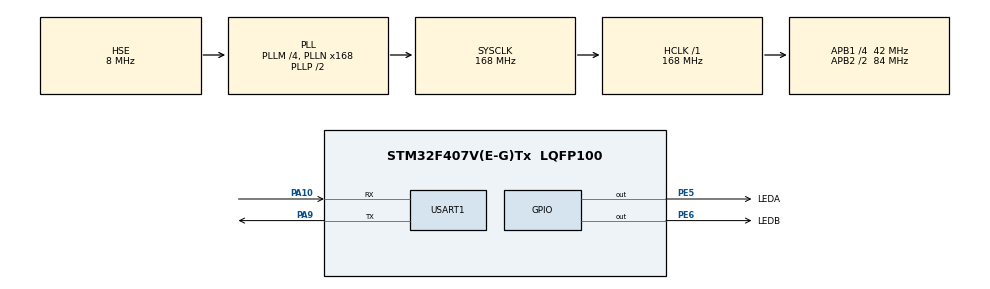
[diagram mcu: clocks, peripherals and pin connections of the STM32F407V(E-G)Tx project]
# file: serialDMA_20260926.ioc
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Dma.Request0=USART1_TX
Dma.Request1=USART1_RX
Dma.USART1_RX.1.Direction=DMA_PERIPH_TO_MEMORY
Dma.USART1_RX.1.FIFOMode=DMA_FIFOMODE_DISABLE
Dma.USART1_RX.1.Instance=DMA2_Stream2
Dma.USART1_RX.1.MemDataAlignment=DMA_MDATAALIGN_BYTE
Dma.USART1_RX.1.MemInc=DMA_MINC_ENABLE
Dma.USART1_RX.1.Mode=DMA_NORMAL
Dma.USART1_RX.1.PeriphDataAlignment=DMA_PDATAALIGN_BYTE
Dma.USART1_RX.1.PeriphInc=DMA_PINC_DISABLE
Dma.USART1_RX.1.Priority=DMA_PRIORITY_LOW
Dma.USART1_TX.0.Direction=DMA_MEMORY_TO_PERIPH
Dma.USART1_TX.0.FIFOMode=DMA_FIFOMODE_DISABLE
Dma.USART1_TX.0.Instance=DMA2_Stream7
Dma.USART1_TX.0.MemDataAlignment=DMA_MDATAALIGN_BYTE
Dma.USART1_TX.0.MemInc=DMA_MINC_ENABLE
Dma.USART1_TX.0.Mode=DMA_NORMAL
Dma.USART1_TX.0.PeriphDataAlignment=DMA_PDATAALIGN_BYTE
Dma.USART1_TX.0.PeriphInc=DMA_PINC_DISABLE
Dma.USART1_TX.0.Priority=DMA_PRIORITY_LOW
Mcu.Family=STM32F4
Mcu.Name=STM32F407V(E-G)Tx
Mcu.Package=LQFP100
NVIC.DMA2_Stream2_IRQn=true\:0\:0\:false\:false\:true\:false\:true\:true
NVIC.DMA2_Stream7_IRQn=true\:0\:0\:false\:false\:true\:false\:true\:true
NVIC.PriorityGroup=NVIC_PRIORITYGROUP_4
NVIC.USART1_IRQn=true\:0\:0\:false\:false\:true\:false\:true\:true
PA10.Mode=Asynchronous
PA10.Signal=USART1_RX
PA13.Mode=Serial_Wire
PA13.Signal=SYS_JTMS-SWDIO
PA14.Mode=Serial_Wire
PA14.Signal=SYS_JTCK-SWCLK
PA9.Mode=Asynchronous
PA9.Signal=USART1_TX
PE5.GPIO_Label=LEDA
PE5.GPIO_PuPd=GPIO_PULLUP
PE5.Signal=GPIO_Output
PE6.GPIO_Label=LEDB
PE6.GPIO_PuPd=GPIO_PULLUP
PE6.Signal=GPIO_Output
PH0-OSC_IN.Mode=HSE-External-Oscillator
PH0-OSC_IN.Signal=RCC_OSC_IN
PH1-OSC_OUT.Mode=HSE-External-Oscillator
PH1-OSC_OUT.Signal=RCC_OSC_OUT
ProjectManager.HeapSize=0x200
ProjectManager.StackSize=0x400
ProjectManager.TargetToolchain=CMake
RCC.48MHZClocksFreq_Value=84000000
RCC.AHBFreq_Value=168000000
RCC.APB1CLKDivider=RCC_HCLK_DIV4
RCC.APB1Freq_Value=42000000
RCC.APB1TimFreq_Value=84000000
RCC.APB2CLKDivider=RCC_HCLK_DIV2
RCC.APB2Freq_Value=84000000
RCC.APB2TimFreq_Value=168000000
RCC.CortexFreq_Value=168000000
RCC.HCLKFreq_Value=168000000
RCC.HSE_VALUE=8000000
RCC.HSI_VALUE=16000000
RCC.LSE_VALUE=32768
RCC.PLLM=4
RCC.PLLN=168
RCC.PLLSourceVirtual=RCC_PLLSOURCE_HSE
RCC.SYSCLKFreq_VALUE=168000000
RCC.SYSCLKSource=RCC_SYSCLKSOURCE_PLLCLK
RCC.VCOOutputFreq_Value=336000000
USART1.VirtualMode=VM_ASYNC
board=custom

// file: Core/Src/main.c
/* USER CODE BEGIN Header */
/**
  ******************************************************************************
  * @file           : main.c
  * @brief          : Main program body
  ******************************************************************************
  * @attention
  *
  * Copyright (c) 2026 STMicroelectronics.
  * All rights reserved.
  *
  * This software is licensed under terms that can be found in the LICENSE file
  * in the root directory of this software component.
  * If no LICENSE file comes with this software, it is provided AS-IS.
  *
  ******************************************************************************
  */
/* USER CODE END Header */
#include "main.h"
#include "dma.h"
#include "usart.h"
#include "gpio.h"

/* USER CODE BEGIN Includes */
#include "string.h"
/* USER CODE END Includes */

/* USER CODE BEGIN PV */
uint8_t receivedData[50]; // Buffer to store received data
/* USER CODE END PV */

void SystemClock_Config(void);

/* USER CODE BEGIN 0 */
void HAL_UART_RxCpltCallback(UART_HandleTypeDef *huart)
{
    // Reception complete callback
    // You can add code here to handle the completion of the reception
    HAL_UART_Transmit_DMA(&huart1, receivedData, 2); // Echo the received bytes back, using DMA mode
    GPIO_PinState state = GPIO_PIN_SET;
    if (receivedData[1] == '0') {
        state = GPIO_PIN_RESET;
    }
    if (receivedData[0] == 'A') {
        HAL_GPIO_WritePin(LEDA_GPIO_Port, LEDA_Pin, state); // Control LED on PA5 based on received data
    } else if (receivedData[0] == 'B') {
        HAL_GPIO_WritePin(LEDB_GPIO_Port, LEDB_Pin, state); // Control LED on PB0 based on received data
    }
    HAL_UART_Receive_DMA(&huart1, receivedData, 2); // Start receiving data again in DMA mode
}
void HAL_UARTEx_RxEventCallback(UART_HandleTypeDef *huart, uint16_t Size)
{
  if (huart == &huart1)
  {
    HAL_UART_Transmit_DMA(&huart1, receivedData, Size); // Echo the received bytes back, using DMA mode

    HAL_UARTEx_ReceiveToIdle_DMA(&huart1, receivedData, 50); // Start receiving data again in DMA mode with idle line detection
    __HAL_DMA_DISABLE_IT(huart1.hdmarx, DMA_IT_HT); // Disable the half-transfer interrupt
  }
}
/* USER CODE END 0 */

int main(void)
{

  /* MCU Configuration--------------------------------------------------------*/

  /* Reset of all peripherals, Initializes the Flash interface and the Systick. */
  HAL_Init();

  /* Configure the system clock */
  SystemClock_Config();

  /* Initialize all configured peripherals */
  MX_GPIO_Init();
  MX_DMA_Init();
  MX_USART1_UART_Init();
  /* USER CODE BEGIN 2 */
  //HAL_UART_Receive_DMA(&huart1, receivedData, 2); // Start receiving data in DMA mode
  HAL_UARTEx_ReceiveToIdle_DMA(&huart1, receivedData, 50); // Start receiving data in DMA mode with idle line detection
  __HAL_DMA_DISABLE_IT(huart1.hdmarx, DMA_IT_HT); // Disable the half-transfer interrupt
  /* USER CODE END 2 */

  /* Infinite loop */
  while (1)
  {

  }
}

void SystemClock_Config(void)
{
  RCC_OscInitTypeDef RCC_OscInitStruct = {0};
  RCC_ClkInitTypeDef RCC_ClkInitStruct = {0};

  /** Configure the main internal regulator output voltage
  */
  __HAL_RCC_PWR_CLK_ENABLE();
  __HAL_PWR_VOLTAGESCALING_CONFIG(PWR_REGULATOR_VOLTAGE_SCALE1);

  /** Initializes the RCC Oscillators according to the specified parameters
  * in the RCC_OscInitTypeDef structure.
  */
  RCC_OscInitStruct.OscillatorType = RCC_OSCILLATORTYPE_HSE;
  RCC_OscInitStruct.HSEState = RCC_HSE_ON;
  RCC_OscInitStruct.PLL.PLLState = RCC_PLL_ON;
  RCC_OscInitStruct.PLL.PLLSource = RCC_PLLSOURCE_HSE;
  RCC_OscInitStruct.PLL.PLLM = 4;
  RCC_OscInitStruct.PLL.PLLN = 168;
  RCC_OscInitStruct.PLL.PLLP = RCC_PLLP_DIV2;
  RCC_OscInitStruct.PLL.PLLQ = 4;
  if (HAL_RCC_OscConfig(&RCC_OscInitStruct) != HAL_OK)
  {
    Error_Handler();
  }

  /** Initializes the CPU, AHB and APB buses clocks
  */
  RCC_ClkInitStruct.ClockType = RCC_CLOCKTYPE_HCLK|RCC_CLOCKTYPE_SYSCLK
                              |RCC_CLOCKTYPE_PCLK1|RCC_CLOCKTYPE_PCLK2;
  RCC_ClkInitStruct.SYSCLKSource = RCC_SYSCLKSOURCE_PLLCLK;
  RCC_ClkInitStruct.AHBCLKDivider = RCC_SYSCLK_DIV1;
  RCC_ClkInitStruct.APB1CLKDivider = RCC_HCLK_DIV4;
  RCC_ClkInitStruct.APB2CLKDivider = RCC_HCLK_DIV2;

  if (HAL_RCC_ClockConfig(&RCC_ClkInitStruct, FLASH_LATENCY_5) != HAL_OK)
  {
    Error_Handler();
  }
}

void Error_Handler(void)
{
  __disable_irq();
  while (1)
  {
  }
}
